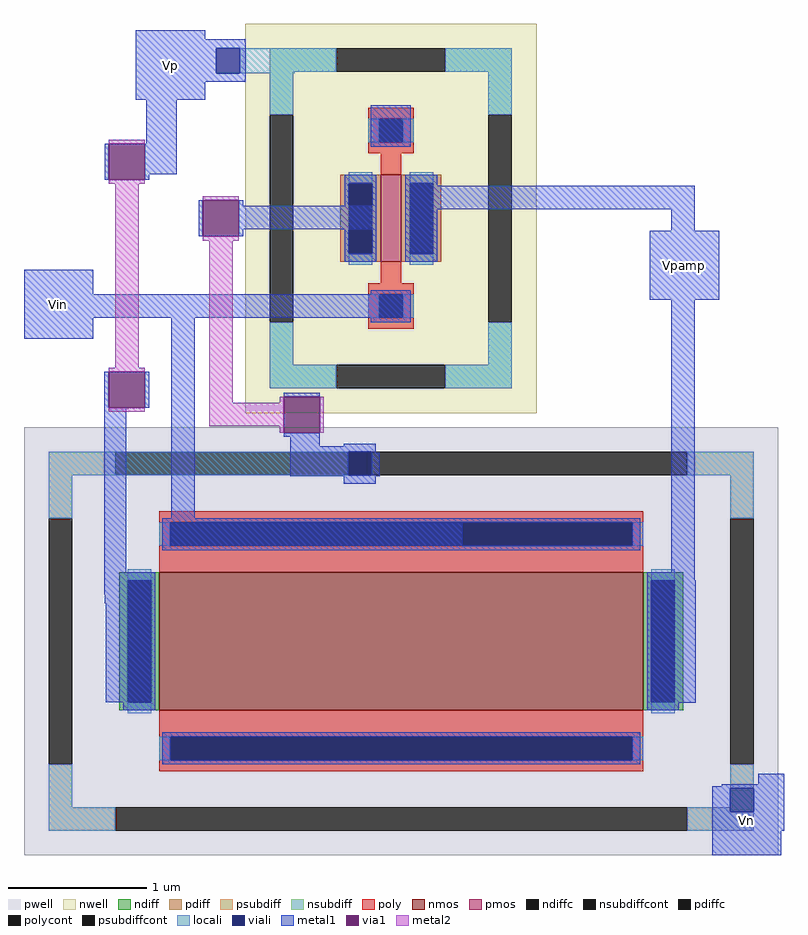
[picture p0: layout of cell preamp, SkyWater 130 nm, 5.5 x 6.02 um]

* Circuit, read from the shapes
.subckt preamp Vp Vin Vpamp Vn
XM1 Vpamp Vin Vp Vn sky130_fd_pr__nfet_01v8 w=1 l=3.5
XM2 Vpamp Vin Vn Vp sky130_fd_pr__pfet_01v8 w=0.63 l=0.15
.ends

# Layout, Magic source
magic
tech sky130A
magscale 1 2
<< psubdiff >>
rect 447 686 891 720
rect 1416 254 1422 261
rect 1416 195 1450 254
<< locali >>
rect 706 1268 786 1304
rect 455 686 863 720
rect 1416 254 1422 259
rect 1416 233 1450 254
<< viali >>
rect 672 1268 706 1304
rect 863 686 897 720
rect 1416 199 1450 233
<< metal1 >>
rect 556 1317 656 1330
rect 556 1312 714 1317
rect 556 1304 715 1312
rect 556 1268 672 1304
rect 706 1268 715 1304
rect 556 1260 715 1268
rect 556 1256 714 1260
rect 556 1230 656 1256
rect 571 1166 615 1230
rect 511 1114 517 1166
rect 569 1122 615 1166
rect 896 1162 954 1222
rect 569 1114 575 1122
rect 953 1105 987 1109
rect 647 1032 653 1084
rect 705 1076 711 1084
rect 705 1042 898 1076
rect 953 1071 1365 1105
rect 705 1032 711 1042
rect 953 1009 987 1071
rect 1331 1040 1365 1071
rect 394 948 494 984
rect 394 914 947 948
rect 1300 940 1400 1040
rect 394 884 494 914
rect 510 784 517 836
rect 569 784 575 836
rect 510 535 542 784
rect 607 617 641 914
rect 770 800 822 806
rect 770 742 822 748
rect 779 728 822 742
rect 857 728 903 732
rect 779 720 903 728
rect 779 686 863 720
rect 897 719 903 720
rect 897 686 909 719
rect 779 685 909 686
rect 857 674 903 685
rect 607 583 1029 617
rect 1331 535 1365 940
rect 510 514 579 535
rect 511 501 579 514
rect 512 359 579 501
rect 1303 534 1365 535
rect 512 358 546 359
rect 1303 357 1366 534
rect 1457 239 1494 254
rect 1404 236 1494 239
rect 1390 233 1494 236
rect 1390 199 1416 233
rect 1450 199 1494 233
rect 1390 172 1494 199
rect 1390 136 1490 172
<< via1 >>
rect 517 1114 569 1166
rect 653 1032 705 1084
rect 517 784 569 836
rect 770 748 822 800
<< metal2 >>
rect 517 1166 569 1172
rect 517 1108 569 1114
rect 526 842 560 1108
rect 653 1084 705 1090
rect 653 1026 705 1032
rect 517 836 569 842
rect 517 778 569 784
rect 662 791 696 1026
rect 764 791 770 800
rect 662 757 770 791
rect 764 748 770 757
rect 822 748 828 800
use sky130_fd_pr__pfet_01v8_MWHFPY  XM0
transform 1 0 925 0 1 1058
box -211 -282 211 282
use sky130_fd_pr__nfet_01v8_DPSGWY  XM1
transform 1 0 940 0 1 446
box -546 -310 546 310
<< labels >>
flabel metal1 556 1230 656 1330 0 FreeSans 256 0 0 0 Vp
port 0 nsew
flabel metal1 1390 136 1490 236 0 FreeSans 256 0 0 0 Vn
port 3 nsew
flabel metal1 1300 940 1400 1040 0 FreeSans 256 0 0 0 Vpamp
port 2 nsew
flabel metal1 394 884 494 984 0 FreeSans 256 0 0 0 Vin
port 1 nsew
<< end >>

# cell sky130_fd_pr__pfet_01v8_MWHFPY: kit device sky130_fd_pr__pfet_01v8, w 0.63 l 0.15 m 1 nf 1 diffcov 100 polycov 100 guard 1 glc 1 grc 1 gtc 1 gbc 1 tbcov 100 rlcov 100 topc 1 botc 1 poverlap 0 doverlap 1 lmin 0.15 wmin 0.42 compatible {sky130_fd_pr__pfet_01v8 sky130_fd_pr__pfet_01v8_lvt sky130_fd_pr__pfet_01v8_hvt sky130_fd_pr__pfet_g5v0d10v5} full_metal 1 viasrc 100 viadrn 100 viagate 100 viagb 0 viagr 0 viagl 0 viagt 0

# cell sky130_fd_pr__nfet_01v8_DPSGWY: kit device sky130_fd_pr__nfet_01v8, w 1.0 l 3.5 m 1 nf 1 diffcov 100 polycov 100 guard 1 glc 1 grc 1 gtc 1 gbc 1 tbcov 100 rlcov 100 topc 1 botc 1 poverlap 0 doverlap 1 lmin 0.15 wmin 0.42 compatible {sky130_fd_pr__nfet_01v8 sky130_fd_pr__nfet_01v8_lvt sky130_fd_bs_flash__special_sonosfet_star sky130_fd_pr__nfet_g5v0d10v5 sky130_fd_pr__nfet_05v0_nvt sky130_fd_pr__nfet_03v3_nvt} full_metal 1 viasrc 100 viadrn 100 viagate 100 viagb 0 viagr 0 viagl 0 viagt 0
